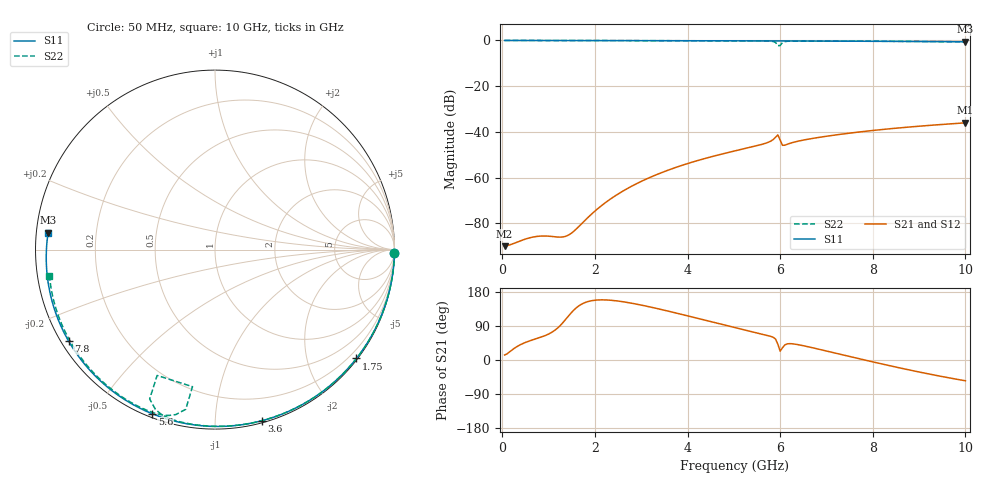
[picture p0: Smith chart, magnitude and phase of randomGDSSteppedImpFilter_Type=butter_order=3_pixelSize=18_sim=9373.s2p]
! freq	dB(S11)	phase(S11)	dB(S12)	phase(S12)
!  dB(S21)	phase(S21)	dB(S22)	phase(S22)
!S-par simulation data
#  GHz  S  DB  R 50
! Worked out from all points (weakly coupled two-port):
!   200 points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, 50 MHz to 10 GHz, reference 50 ohm
!   highest |S21| = -36.00 dB at 10 GHz (marker M1); lowest = -89.9 dB at 50 MHz (marker M2)
!   lowest |S11| = -0.6 dB at 10 GHz (marker M3), VSWR 29.58, Z = 1.69 + j2.52 ohm
!   |S11| at or under -10 dB: nowhere
!   |S22| runs from -2.3 to 0.0 dB; largest |S21 - S12| = 0
!   S11 on the Smith chart (normalised r, x): 50 MHz: open; 1.75 GHz: 0.03, -2.94; 3.6 GHz: 0.02, -1.31; 5.6 GHz: 0.02, -0.69; 7.8 GHz: 0.02, -0.29; 10 GHz: 0.03, +0.05
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0.05  -0.00 -1.1  -89.93 13.2  -89.93 13.2  -0.00 -1.0
0.85  -0.02 -18.5  -85.49 60.9  -85.49 60.9  -0.02 -16.6
1.7  -0.05 -36.5  -80.38 146.5  -80.38 146.5  -0.04 -32.9
1.75  -0.05 -37.6  -79.37 149.7  -79.37 149.7  -0.04 -33.8
2.1  -0.06 -44.8  -72.89 158.6  -72.89 158.6  -0.05 -40.4
2.45  -0.07 -52.0  -67.77 156.3  -67.77 156.3  -0.06 -46.9
2.9  -0.08 -61.0  -62.60 147.4  -62.60 147.4  -0.07 -55.1
3.4  -0.09 -70.8  -58.09 134.2  -58.09 134.2  -0.08 -64.1
3.6  -0.10 -74.6  -56.55 128.5  -56.55 128.5  -0.09 -67.6
5.05  -0.16 -101.3  -48.15 84.6  -48.15 84.6  -0.15 -92.7
5.6  -0.18 -110.9  -45.46 68.4  -45.46 68.4  -0.20 -102.9
5.85  -0.20 -115.2  -43.31 59.9  -43.31 59.9  -0.45 -110.5
5.9  -0.20 -116.1  -42.33 55.4  -42.33 55.4  -0.84 -113.6
5.95  -0.20 -117.0  -41.27 41.6  -41.27 41.6  -2.25 -114.7
6  -0.20 -117.8  -43.60 23.3  -43.60 23.3  -2.23 -99.3
6.05  -0.21 -118.7  -45.83 32.2  -45.83 32.2  -0.87 -100.4
6.25  -0.22 -122.1  -44.73 42.9  -44.73 42.9  -0.28 -108.5
6.7  -0.25 -129.7  -42.83 32.3  -42.83 32.3  -0.25 -117.2
7.8  -0.34 -148.1  -39.79 0.7  -39.79 0.7  -0.32 -135.0
8.35  -0.39 -157.3  -38.64 -14.6  -38.64 -14.6  -0.37 -143.6
9.2  -0.49 -171.7  -37.16 -36.6  -37.16 -36.6  -0.47 -157.3
10  -0.59 174.2  -36.00 -54.8  -36.00 -54.8  -0.60 -171.0
